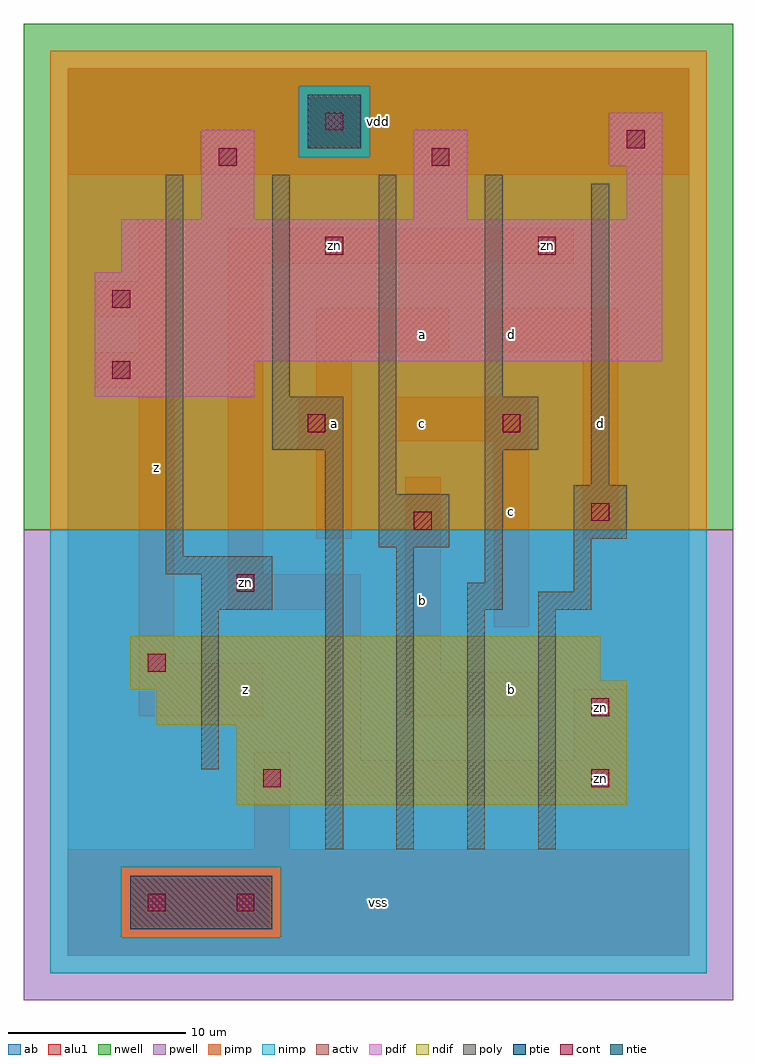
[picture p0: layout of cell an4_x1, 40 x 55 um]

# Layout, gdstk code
import gdstk
lib = gdstk.Library(unit=1e-6, precision=1e-09)
def R(c, l, rs):  # rectangles x0, y0, x1, y1
    for r in rs: c.add(gdstk.rectangle(r[:2], r[2:], *l))
ndif = (3, 0)
pdif = (4, 0)
ntie = (5, 0)
ptie = (6, 0)
cont = (25, 0)
pwell = (41, 0)
nwell = (42, 0)
activ = (43, 0)
pimp = (44, 0)
nimp = (45, 0)
poly = (46, 0)
alu1 = (49, 0)
ab = (63, 0)

an4_x1 = lib.new_cell('an4_x1')
R(an4_x1, ndif, [(9.5,8.5,31.5,13), (5,13,31.5,15), (3.5,15,31.5,15.5), (3.5,15.5,30,18)])
R(an4_x1, pdif, [(1.5,31.5,10.5,33.5), (1.5,33.5,33.5,38.5), (3,38.5,33.5,41.5), (7.5,41.5,10.5,46.5), (19.5,41.5,22.5,46.5), (31.5,41.5,33.5,44.5), (30.5,44.5,33.5,47.5)])
R(an4_x1, ntie, [(13.5,45.5,16.5,48.5)])
R(an4_x1, ptie, [(3.5,1.5,11.5,4.5)])
R(an4_x1, cont, [(4.5,2.5,5.5,3.5), (9.5,2.5,10.5,3.5), (11,9.5,12,10.5), (29.5,9.5,30.5,10.5), (29.5,13.5,30.5,14.5), (4.5,16,5.5,17), (9.5,20.5,10.5,21.5), (19.5,24,20.5,25), (29.5,24.5,30.5,25.5), (13.5,29.5,14.5,30.5), (24.5,29.5,25.5,30.5), (2.5,32.5,3.5,33.5), (2.5,36.5,3.5,37.5), (14.5,39.5,15.5,40.5), (26.5,39.5,27.5,40.5), (8.5,44.5,9.5,45.5), (20.5,44.5,21.5,45.5), (31.5,45.5,32.5,46.5), (14.5,46.5,15.5,47.5)])
R(an4_x1, pwell, [(-2.5,-2.5,37.5,24)])
R(an4_x1, nwell, [(-2.5,24,37.5,52.5)])
R(an4_x1, activ, [(3.5,1.5,11.5,4.5), (9.5,8.5,31.5,13), (5,13,31.5,15), (3.5,15,31.5,15.5), (3.5,15.5,30,18), (1.5,31.5,10.5,33.5), (1.5,33.5,33.5,38.5), (3,38.5,33.5,41.5), (7.5,41.5,10.5,46.5), (19.5,41.5,22.5,46.5), (31.5,41.5,33.5,44.5), (30.5,44.5,33.5,47.5), (13.5,45.5,16.5,48.5)])
R(an4_x1, pimp, [(3,1,12,5), (-1,24,36,45), (-1,45,13,49), (17,45,36,49), (-1,49,36,51)])
R(an4_x1, nimp, [(-1,-1,36,1), (-1,1,3,5), (12,1,36,5), (-1,5,36,24), (13,45,17,49)])
R(an4_x1, poly, [(14.5,6,15.5,28.5), (18.5,6,19.5,23), (22.5,6,23.5,19.5), (26.5,6,27.5,19.5), (7.5,10.5,8.5,19.5), (7.5,19.5,11.5,21.5), (22.5,19.5,24.5,21), (26.5,19.5,29.5,20.5), (28.5,20.5,29.5,23.5), (23.5,21,24.5,28.5), (5.5,21.5,11.5,22.5), (5.5,22.5,6.5,44), (17.5,23,21.5,26), (28.5,23.5,31.5,26.5), (17.5,26,18.5,44), (29.5,26.5,30.5,43.5), (11.5,28.5,15.5,31.5), (23.5,28.5,26.5,31.5), (11.5,31.5,12.5,44), (23.5,31.5,24.5,44)])
R(an4_x1, alu1, [(0,0,35,6), (0,0,35,6), (10.5,6,12.5,11.5), (10.5,6,12.5,11.5), (14.5,9,31.5,11), (14.5,9,31.5,11), (14.5,11,16.5,19.5), (14.5,11,16.5,19.5), (28.5,11,31.5,15), (28.5,11,31.5,15), (4,13.5,11,16.5), (4,13.5,11,16.5), (19,13.5,26.5,16), (19,13.5,26.5,16), (19,16,21,27), (19,16,21,27), (4,16.5,6,32), (4,16.5,6,32), (24,18.5,26,29), (24,18.5,26,29), (9,19.5,16.5,21.5), (9,19.5,16.5,21.5), (9,21.5,11,39), (9,21.5,11,39), (14,23.5,16,28.5), (14,23.5,16,28.5), (29,23.5,31,34), (29,23.5,31,34), (13,28.5,16,31.5), (13,28.5,16,31.5), (18.5,29,26,31.5), (18.5,29,26,31.5), (14,31.5,16,34), (14,31.5,16,34), (1.5,32,6,34), (1.5,32,6,34), (4,34,6,36), (4,34,6,36), (14,34,21.5,36.5), (14,34,21.5,36.5), (23.5,34,31,36.5), (23.5,34,31,36.5), (1.5,36,6,38), (1.5,36,6,38), (4,38,6,41.5), (4,38,6,41.5), (9,39,28.5,41), (9,39,28.5,41), (0,44,35,50), (0,44,35,50)])
R(an4_x1, ab, [(0,0,35,50)])
an4_x1.add(gdstk.Label('zn', (10,21), layer=49, texttype=0))
an4_x1.add(gdstk.Label('zn', (15,40), layer=49, texttype=0))
an4_x1.add(gdstk.Label('zn', (30,10), layer=49, texttype=0))
an4_x1.add(gdstk.Label('zn', (30,14), layer=49, texttype=0))
an4_x1.add(gdstk.Label('zn', (27,40), layer=49, texttype=0))
an4_x1.add(gdstk.Label('z', (5,27.5), layer=49, texttype=0))
an4_x1.add(gdstk.Label('z', (10,15), layer=49, texttype=0))
an4_x1.add(gdstk.Label('a', (15,30), layer=49, texttype=0))
an4_x1.add(gdstk.Label('vss', (17.5,3), layer=49, texttype=0))
an4_x1.add(gdstk.Label('b', (20,20), layer=49, texttype=0))
an4_x1.add(gdstk.Label('b', (25,15), layer=49, texttype=0))
an4_x1.add(gdstk.Label('c', (25,25), layer=49, texttype=0))
an4_x1.add(gdstk.Label('d', (25,35), layer=49, texttype=0))
an4_x1.add(gdstk.Label('a', (20,35), layer=49, texttype=0))
an4_x1.add(gdstk.Label('c', (20,30), layer=49, texttype=0))
an4_x1.add(gdstk.Label('vdd', (17.5,47), layer=49, texttype=0))
an4_x1.add(gdstk.Label('d', (30,30), layer=49, texttype=0))

lib.write_gds('an4_x1.gds')
